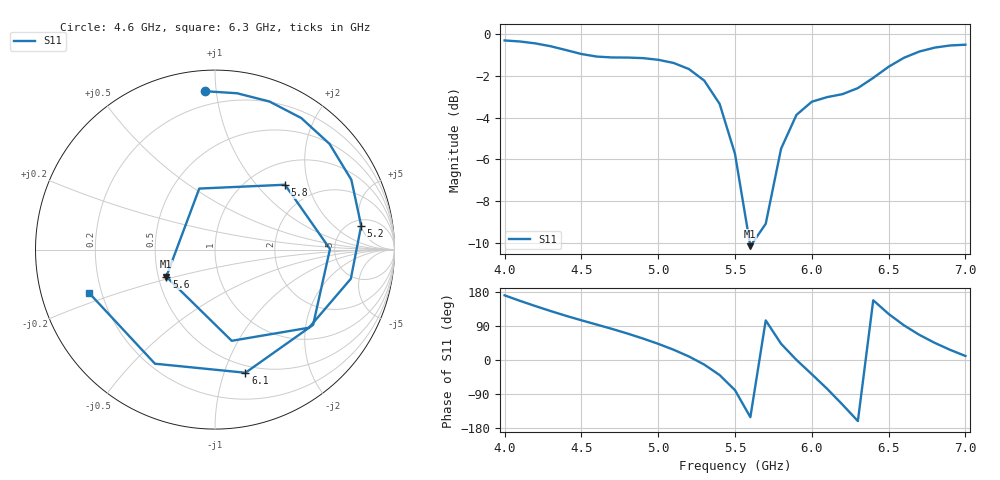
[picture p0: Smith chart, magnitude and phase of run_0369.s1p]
! Touchstone file exported from HFSS 2024.2.0
!  File:  C:/Users/wsak9/Desktop/Sim Fast/Widenad Patch/WP_AI_V1_sweep.aedt
!  Generated:  06:43:43 AM Oct 14, 2026
!  Design:  A1_model
!  Project:  WP_AI_V1_sweep
!  Setup:  Setup1
!  Solution:  Sweep
! Variables:
!  Air_gap = 2.76mm
!  Curve_Amp1 = 2.06
!  Curve_len1 = 1
!  Curve_pos = 10.735mm
!  Extra = 3.59mm
!  H_sub = 0.79mm
!  L_Patch = 17.47mm
!  L_Patch1 = 18.03mm
!  Sx = 3.53mm
!  Sy = 0.86mm
!  WS = 0.7mm
!  W_Patch = 16.77mm
!  W_Patch1 = 14.44mm
!Data is not renormalized
# GHz S MA
! Terminal data exported
! Port[1] = 1
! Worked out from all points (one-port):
!   31 points, 4 GHz to 7 GHz, reference per port
!   lowest |S11| = -10.2 dB at 5.6 GHz (marker M1), VSWR 1.90
!   |S11| at or under -10 dB: 5.596336 GHz to 5.615126 GHz (18.79 MHz wide, 0.335 % of centre)
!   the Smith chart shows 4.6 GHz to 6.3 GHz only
!   S11 on the Smith chart (normalised r, x): 4.6 GHz: 0.12, +0.93; 5.2 GHz: 6.12, +5.10; 5.6 GHz: 0.55, -0.18; 5.8 GHz: 1.43, +1.44; 6.1 GHz: 0.43, -1.18; 6.3 GHz: 0.15, -0.16
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4  0.9662 170.6
4.2  0.9507 142.3
4.3  0.9358 129.1
4.4  0.9163 116.6
4.6  0.8839 93.5
4.8  0.8792 69.8
4.9  0.8765 56.7
5  0.8684 42.7
5.1  0.8534 27.1
5.2  0.8252 9.3
5.3  0.774 -12.1
5.4  0.6808 -39.7
5.5  0.5165 -79.6
5.6  0.3104 -150.9
5.7  0.3511 104.5
5.8  0.5316 42.8
5.9  0.6406 0.3
6  0.6889 -37.5
6.1  0.7067 -76.1
6.2  0.7184 -117.8
6.3  0.7428 -161.2
6.4  0.7859 157.6
6.5  0.8356 121.6
6.6  0.8781 91.5
6.7  0.9088 66.4
6.8  0.9287 45.3
6.9  0.9398 26.9
7  0.9438 10.6
